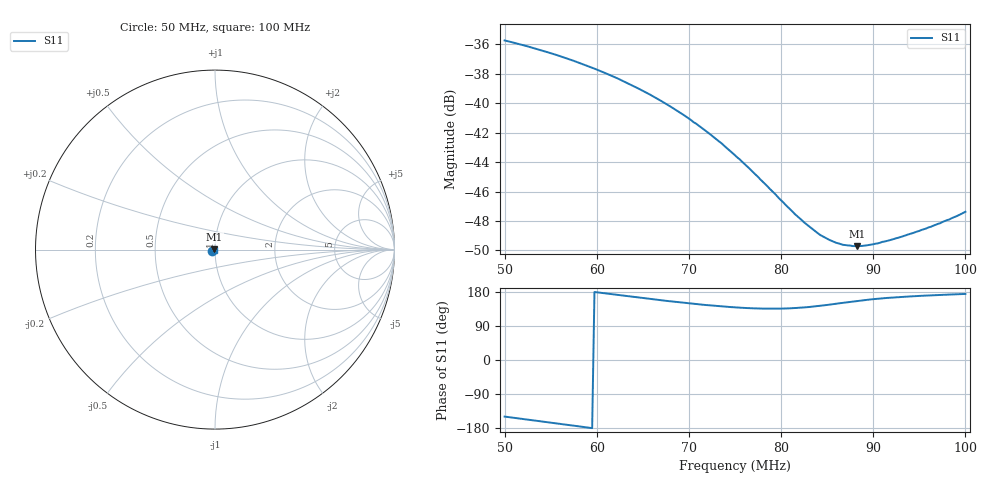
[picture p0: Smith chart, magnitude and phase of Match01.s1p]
!Agilent Technologies,E5072A,MY51200456,A.01.06
!Date: Mon Aug 31 08:08:15 2015
!Data & Calibration Information:
!Freq	S11:SOLT1(ON)
!PortZ  Port1:50+j0
!Above PortZ is port z conversion or system Z0 setting when saving the data.
!When reading, reference impedance value at option line is always used.
# Hz S dB R 50
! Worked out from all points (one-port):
!   201 points, 50 MHz to 100 MHz, reference 50 ohm
!   lowest |S11| = -49.7 dB at 88.25 MHz (marker M1), VSWR 1.01, Z = 49.7 + j0.134 ohm
!   |S11| at or under -10 dB: start of sweep to end of sweep
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5e7  -35.73 -149.3
5.4e7  -36.40 -162.3
5.625e7  -36.84 -169.5
5.975e7  -37.64 179.4
6.25e7  -38.38 170.9
6.55e7  -39.31 161.9
6.775e7  -40.12 155.5
6.875e7  -40.52 152.8
7.025e7  -41.15 148.9
7.2e7  -41.96 144.7
7.35e7  -42.70 141.6
7.5e7  -43.53 138.8
7.75e7  -45.00 135.9
8.125e7  -47.36 136.7
8.25e7  -48.09 138.7
8.425e7  -48.95 143.1
8.525e7  -49.28 146.0
8.6e7  -49.48 148.6
8.675e7  -49.62 151.0
8.75e7  -49.66 153.3
8.825e7  -49.71 155.7
8.925e7  -49.66 158.5
9.05e7  -49.52 161.7
9.2e7  -49.27 164.7
9.375e7  -48.92 167.6
9.725e7  -48.15 171.8
9.9e7  -47.68 173.4
1e8  -47.37 174.4
